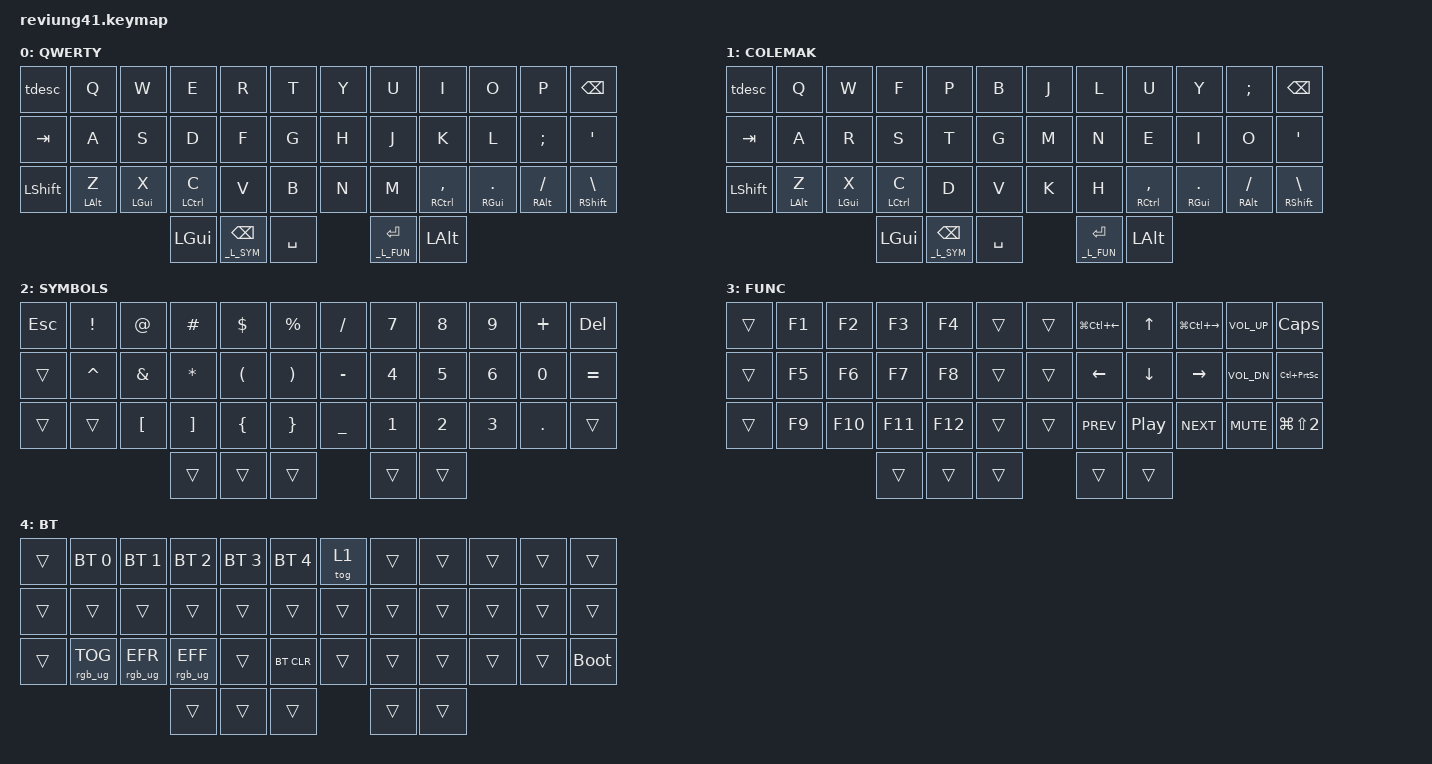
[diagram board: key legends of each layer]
#include <behaviors.dtsi>
#include <dt-bindings/zmk/keys.h>
#include <dt-bindings/zmk/bt.h>
#include <dt-bindings/zmk/rgb.h>

#define _L_QWE 0
#define _L_COL 1
#define _L_SYM 2
#define _L_FUN 3
#define _L_BLU 4

/ {
  chosen {
        zmk,matrix_transform = &default_transform;
        //zmk,matrix_transform = &five_column_transform;
  };
};

/ {
    combos {
        compatible = "zmk,combos";
        combo_capsword {
            timeout-ms = <50>;
            key-positions = <15 16 19 20>; // Double shift
            bindings = <&caps_word>;
        };
        combo_minus {
            timeout-ms = <50>;
            key-positions = <18 30>; // H + N
            bindings = <&kp MINUS>;
        };
        combo_lshift {
            timeout-ms = <50>;
            key-positions = <15 16>; // D + F
            bindings = <&kp LSHFT>;
        };
        combo_rshift {
            timeout-ms = <50>;
            key-positions = <19 20>; // J + K
            bindings = <&kp LSHFT>;
        };
    };
};

/ {
    conditional_layers {
        compatible = "zmk,conditional-layers";
        tri_layer {
            if-layers = <_L_SYM _L_FUN>;
            then-layer = <_L_BLU>;
        };
    };
};

&lt {
    tapping-term-ms = <200>;
};

/ {
        behaviors {
                tdesc: tap_dance_ESC {
                    compatible = "zmk,behavior-tap-dance";
                    label = "TAP_DANCE_ESC";
                    #binding-cells = <0>;
                    tapping-term-ms = <200>;
                    bindings = <&kp GRAVE>, <&kp ESC>;
                };
                hm: homerow_mods {
                    compatible = "zmk,behavior-hold-tap";
                    label = "HOMEROW_MODS";
                    #binding-cells = <2>;
                    tapping-term-ms = <200>;
                    quick-tap-ms = <0>;
                    flavor = "tap-preferred";
                    bindings = <&kp>, <&kp>;
                };
        };
        keymap {
                compatible = "zmk,keymap";

                default_layer { // 0
                        label = "QWERTY";
// -----------------------------------------------------------------------------------------
// |  `   |  Q  |  W  |  E  |  R   |  T  |   |  Y   |  U  |  I  |  O  |  P  | BKSP |
// | TAB  |  A  |  S  |  D  |  F   |  G  |   |  H   |  J  |  K  |  L  |  ;  |  '   |
// | SHFT |  Z  |  X  |  C  |  V   |  B  |   |  N   |  M  |  ,  |  .  |  /  |  \   |
//                    | GUI | CTRL | SPC |   | SHFT | RET | ALT |
                        bindings = <
   &tdesc    &kp Q      &kp W      &kp E       &kp R  &kp T    &kp Y  &kp U  &kp I           &kp O        &kp P         &kp BSPC
   &kp TAB   &kp A      &kp S      &kp D       &kp F  &kp G    &kp H  &kp J  &kp K           &kp L        &kp SEMI      &kp APOS
   &kp LSHFT &hm LALT Z &hm LGUI X &hm LCTRL C &kp V  &kp B    &kp N  &kp M  &hm RCTRL COMMA &hm RGUI DOT &hm RALT FSLH &hm RSHFT BSLH
                              &kp LGUI &lt _L_SYM BSPC   &kp SPACE   &lt _L_FUN RET &kp LALT
                        >;
                };

                colemak_layer { // 1
                        label = "COLEMAK";
// -----------------------------------------------------------------------------------------
// |  `   |  Q  |  W  |  F  |  P   |  B  |   |  J   |  L   |  U  |  Y  |  ;  | BKSP |
// | TAB  |  A  |  R  |  S  |  T   |  G  |   |  M   |  N   |  E  |  I  |  O  |  '   |
// | SHFT |  Z  |  X  |  C  |  D   |  V  |   |  K   |  H   |  ,  |  .  |  /  |  \   |
//                    | GUI | CTRL | SPC |   | SHFT | BSPC | ALT |
                        bindings = <
   &tdesc    &kp Q      &kp W      &kp F       &kp P  &kp B   &kp J &kp L  &kp U           &kp Y        &kp SEMI      &kp BSPC
   &kp TAB   &kp A      &kp R      &kp S       &kp T  &kp G   &kp M &kp N  &kp E           &kp I        &kp O         &kp APOS
   &kp LSHFT &hm LALT Z &hm LGUI X &hm LCTRL C &kp D  &kp V   &kp K &kp H  &hm RCTRL COMMA &hm RGUI DOT &hm RALT FSLH &hm RSHFT BSLH
                              &kp LGUI &lt _L_SYM BSPC   &kp SPACE  &lt _L_FUN RET &kp LALT
                        >;
                };

                lower_layer { // 2
                        label = "SYMBOLS";
// -----------------------------------------------------------------------------------------
// |  ESC |  !  |  @  |  #  |  $  |  %  |   |  /  |  7  |  8  |  9  |  +  | DEL |
// |      |  ^  |  &  |  *  |  (  |  )  |   |  -  |  4  |  5  |  6  |  0  |  =  |
// | SHFT |     |  [  |  ]  |  {  |  }  |   |  _  |  1  |  2  |  3  |  .  |     |
//                    | GUI |     | SPC |   | ENT | LYR3 | ALT |
                        bindings = <
   &kp ESC &kp EXCL  &kp AT   &kp HASH &kp DLLR  &kp PRCNT   &kp SLASH &kp N7 &kp N8 &kp N9 &kp PLUS &kp DEL
   &trans  &kp CARET &kp AMPS &kp STAR &kp LPAR  &kp RPAR    &kp MINUS &kp N4 &kp N5 &kp N6 &kp N0   &kp EQUAL
   &trans  &trans    &kp LBKT &kp RBKT &kp LBRC  &kp RBRC    &kp UNDER &kp N1 &kp N2 &kp N3 &kp DOT  &trans
                                      &trans  &trans   &trans   &trans  &trans
                        >;
                };

                raise_layer { // 3
                        label = "FUNC";
// -----------------------------------------------------------------------------------------
// |      |  F1 | F2  | F3  | F4  |     |   |     | SCRL |  UP  | SCRR | VOL+ | CAPS |
// | CTRL |  F5 | F6  | F7  | F8  |     |   |     | LEFT | DOWN | RGHT | VOL+ |      |
// | SHFT |  F9 | F10 | F11 | F12 |     |   |     | PREV | PLAY | NEXT | MUTE |      |
//                   | GUI | LYR3 | SPC |   | ENT |      | ALT  |
                        bindings = <
   &trans &kp F1 &kp F2  &kp F3  &kp F4  &trans    &trans &kp LG(LC(LEFT)) &kp UP   &kp LG(LC(RIGHT)) &kp C_VOL_UP &kp CAPS
   &trans &kp F5 &kp F6  &kp F7  &kp F8  &trans    &trans &kp LEFT         &kp DOWN &kp RIGHT         &kp C_VOL_DN &kp LC(PSCRN)
   &trans &kp F9 &kp F10 &kp F11 &kp F12 &trans    &trans &kp C_PREV       &kp C_PP &kp C_NEXT        &kp C_MUTE   &kp LG(LS(N2)) 
                            &trans  &trans   &trans   &trans  &trans
                        >;
                };

                adjust_layer { // 4
                        label = "BT";
// -----------------------------------------------------------------------------------------
// |     | BT0 | BT1 | BT2 | BT3 | BT4 |   | LYR1|     |     |     |     |     |
// |     |     |     |     |     |     |   |     |     |     |     |     |     |
// |     |     |     |     |     |BTCLR|   |     |     |     |     |     |     |
//                   |     |     |     |   |     |     |     |
                        bindings = <
   &trans &bt BT_SEL 0    &bt BT_SEL 1    &bt BT_SEL 2    &bt BT_SEL 3 &bt BT_SEL 4      &tog 1 &trans &trans &trans &trans &trans 
   &trans &trans          &trans          &trans          &trans       &trans            &trans &trans &trans &trans &trans &trans
   &trans &rgb_ug RGB_TOG &rgb_ug RGB_EFR &rgb_ug RGB_EFF &trans       &bt BT_CLR        &trans &trans &trans &trans &trans &bootloader 
                                    &trans       &trans       &trans            &trans &trans
                        >;
                };
        };
};
